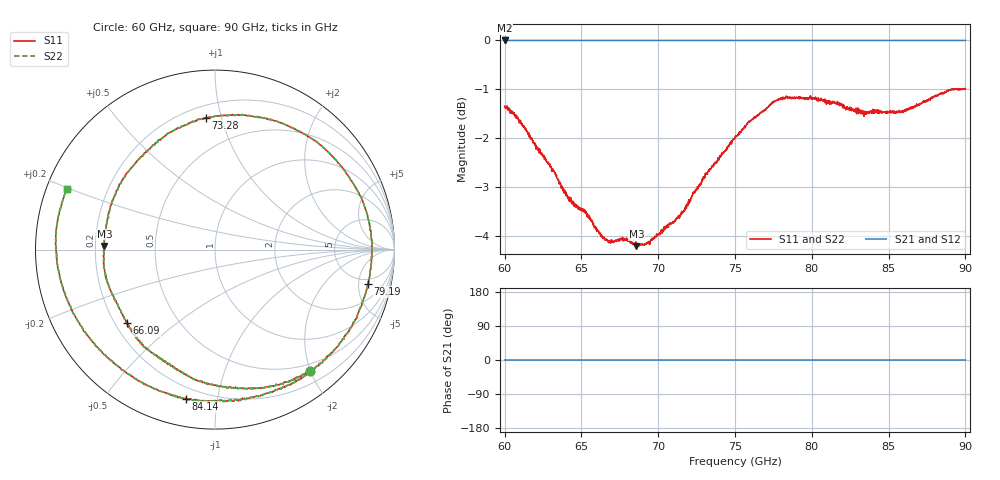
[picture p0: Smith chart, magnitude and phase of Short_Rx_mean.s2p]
!Keysight Technologies,N5242A,MY56023178,A.10.60.03
!Date: Tuesday, August 25, 2020 09:26:59
!Correction: S11(Full 2 Port(1,2))
!S21(Full 2 Port(1,2))
!S12(Full 2 Port(1,2))
!S22(Full 2 Port(1,2))
!S2P File: Measurements: S11, S21, S12, S22:
# Hz S  dB  R 50
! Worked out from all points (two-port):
!   2001 points, 60 GHz to 90 GHz, reference 50 ohm
!   highest |S21| = 0.00 dB at 60 GHz (marker M1); lowest = 0.0 dB at 60 GHz (marker M2)
!   |S21| within 3 dB of the highest: start of sweep to end of sweep
!   lowest |S11| = -4.2 dB at 68.58 GHz (marker M3), VSWR 4.22, Z = 11.9 + j0.794 ohm
!   |S11| at or under -10 dB: nowhere
!   |S22| runs from -4.2 to -1.0 dB; largest |S21 - S12| = 0
!   S11 on the Smith chart (normalised r, x): 60 GHz: 0.39, -1.99; 66.09 GHz: 0.25, -0.34; 73.28 GHz: 0.28, +0.89; 79.19 GHz: 4.08, -6.50; 84.14 GHz: 0.14, -0.82; 90 GHz: 0.06, +0.19
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6e10  -1.34 -52.0  0.00 0.0  0.00 0.0  -1.34 -52.0
6.123e10  -1.77 -70.0  0.00 0.0  0.00 0.0  -1.77 -70.0
6.243e10  -2.34 -86.9  0.00 0.0  0.00 0.0  -2.34 -86.9
6.501e10  -3.45 -123.0  0.00 0.0  0.00 0.0  -3.45 -123.0
6.609e10  -3.89 -140.2  0.00 0.0  0.00 0.0  -3.89 -140.2
6.858e10  -4.20 178.1  0.00 0.0  0.00 0.0  -4.20 178.1
7.0005e10  -3.97 153.2  0.00 0.0  0.00 0.0  -3.97 153.2
7.1835e10  -3.42 119.8  0.00 0.0  0.00 0.0  -3.42 119.8
7.3275e10  -2.64 93.9  0.00 0.0  0.00 0.0  -2.64 93.9
7.5e10  -1.97 62.7  0.00 0.0  0.00 0.0  -1.97 62.7
7.6035e10  -1.63 43.9  0.00 0.0  0.00 0.0  -1.63 43.9
7.743e10  -1.26 19.7  0.00 0.0  0.00 0.0  -1.26 19.7
7.827e10  -1.17 4.2  0.00 0.0  0.00 0.0  -1.17 4.2
7.9185e10  -1.19 -12.7  0.00 0.0  0.00 0.0  -1.19 -12.7
8.001e10  -1.20 -27.7  0.00 0.0  0.00 0.0  -1.20 -27.7
8.217e10  -1.38 -65.8  0.00 0.0  0.00 0.0  -1.38 -65.8
8.4135e10  -1.45 -101.0  0.00 0.0  0.00 0.0  -1.45 -101.0
8.5005e10  -1.46 -115.8  0.00 0.0  0.00 0.0  -1.46 -115.8
8.646e10  -1.40 -141.6  0.00 0.0  0.00 0.0  -1.40 -141.6
8.7675e10  -1.20 -163.2  0.00 0.0  0.00 0.0  -1.20 -163.2
8.886e10  -1.03 177.1  0.00 0.0  0.00 0.0  -1.03 177.1
9e10  -0.99 157.9  0.00 0.0  0.00 0.0  -0.99 157.9
